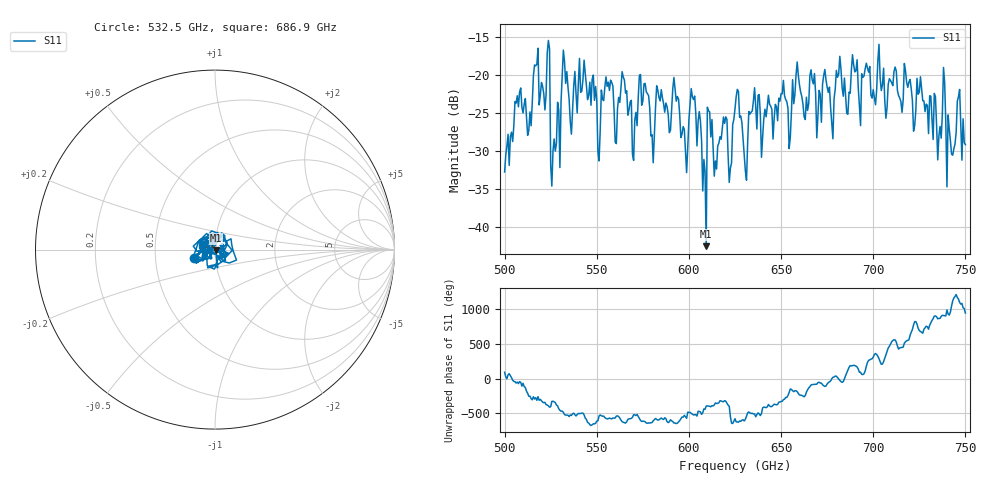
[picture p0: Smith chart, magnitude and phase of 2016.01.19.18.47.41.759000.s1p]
!Created with skrf (http://scikit-rf.org).
# GHz S RI R 50.0
!freq ReS11 ImS11
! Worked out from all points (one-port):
!   401 points, 500 GHz to 750 GHz, reference 50 ohm
!   lowest |S11| = -42.5 dB at 609.4 GHz (marker M1), VSWR 1.02, Z = 50.6 - j0.444 ohm
!   |S11| at or under -10 dB: start of sweep to end of sweep
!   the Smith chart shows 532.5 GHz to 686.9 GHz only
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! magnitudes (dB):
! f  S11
! 500 GHz  -32.7
! 507.5 GHz  -24.2
! 513.8 GHz  -24.8
! 516.9 GHz  -18.8
! 523.1 GHz  -17.1
! 526.2 GHz  -30.0
! 531.2 GHz  -20.0
! 543.1 GHz  -18.0
! 551.2 GHz  -31.3
! 562.5 GHz  -23.6
! 570.6 GHz  -25.9
! 574.4 GHz  -23.9
! 580 GHz  -27.8
! 583.8 GHz  -22.9
! 593.8 GHz  -22.8
! 598.1 GHz  -30.0
! 602.5 GHz  -23.2
! 608.1 GHz  -31.1
! 609.4 GHz  -42.5
! 611.2 GHz  -24.8
! 622.5 GHz  -32.2
! 625 GHz  -24.4
! 630.6 GHz  -32.6
! 635 GHz  -23.4
! 656.2 GHz  -20.6
! 687.5 GHz  -22.4
! 718.8 GHz  -21.6
! 750 GHz  -29.1
